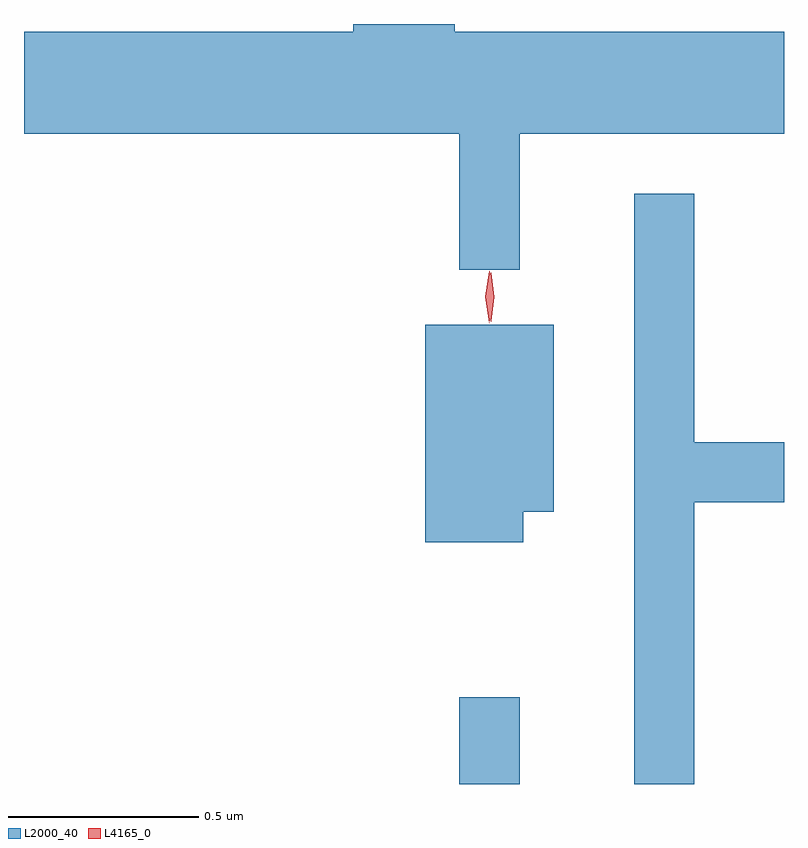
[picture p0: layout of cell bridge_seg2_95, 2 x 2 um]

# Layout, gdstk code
import gdstk
lib = gdstk.Library(unit=1e-6, precision=1e-09)
def R(c, l, rs):  # rectangles x0, y0, x1, y1
    for r in rs: c.add(gdstk.rectangle(r[:2], r[2:], *l))
def P(c, l, *ps):  # polygons
    for p in ps: c.add(gdstk.Polygon(p, *l))
L2000_40 = (2000, 40)
L4165_0 = (4165, 0)

bridge_seg2_95 = lib.new_cell('bridge_seg2_95')
R(bridge_seg2_95, L2000_40, [(1214.356,991.105,1214.514,991.333)])
P(bridge_seg2_95, L2000_40, [(1214.514,992.816),(1215.21,992.816),(1215.21,993.084),(1214.344,993.084),(1214.344,993.105),(1214.076,993.105),(1214.076,993.084),(1213.21,993.084),(1213.21,992.816),(1214.356,992.816),(1214.356,992.458),(1214.514,992.458)],
  [(1214.974,991.846),(1215.21,991.846),(1215.21,992.004),(1214.974,992.004),(1214.974,992.658),(1214.816,992.658),(1214.816,991.105),(1214.974,991.105)],
  [(1214.524,991.821),(1214.604,991.821),(1214.604,992.314),(1214.266,992.314),(1214.266,991.741),(1214.524,991.741)])
P(bridge_seg2_95, L4165_0, [(1214.434,992.318),(1214.434,992.319),(1214.424,992.387),(1214.434,992.454),(1214.435,992.455),(1214.435,992.454),(1214.444,992.386),(1214.434,992.319)],
  [(1214.439,992.322),(1214.438,992.323),(1214.428,992.387),(1214.438,992.451),(1214.438,992.451),(1214.439,992.451),(1214.448,992.387),(1214.439,992.323)])

lib.write_gds('bridge_seg2_95.gds')
